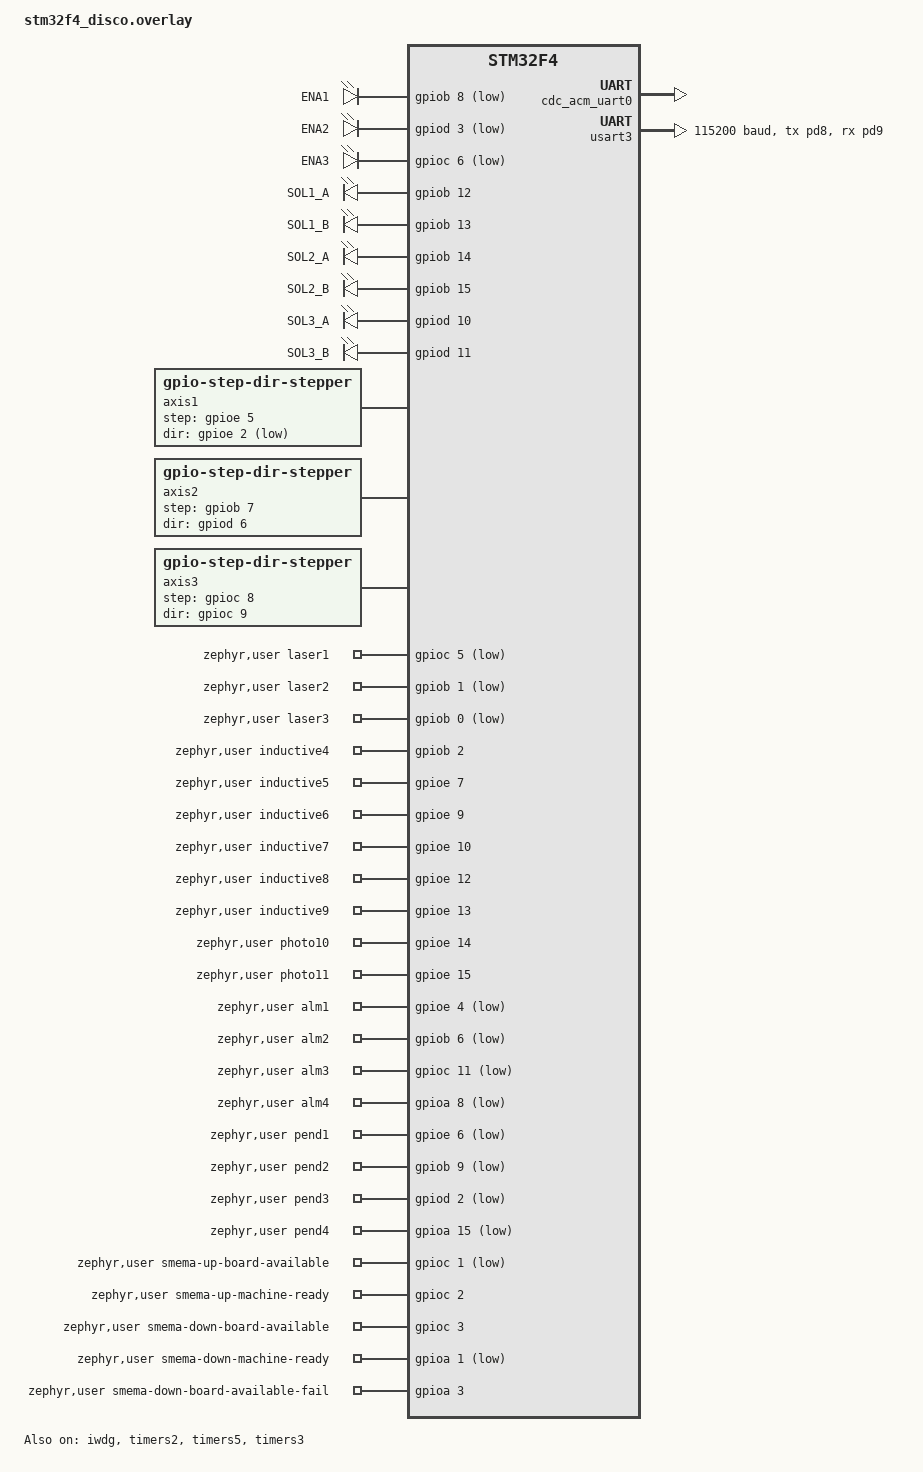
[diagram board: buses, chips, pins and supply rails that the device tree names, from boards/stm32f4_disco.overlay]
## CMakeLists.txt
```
# SPDX-License-Identifier: Apache-2.0
cmake_minimum_required(VERSION 3.20.0)
find_package(Zephyr REQUIRED HINTS $ENV{ZEPHYR_BASE})
project(stepper_f407_emul)

target_sources(app PRIVATE
	src/main.c
	src/io.c
	src/motion.c
	src/safety.c
	src/home.c
	src/smema.c
	src/solenoid.c
	src/evlog.c
	src/process.c
	src/roles.c
	src/mset.c
	src/cli.c
)
```

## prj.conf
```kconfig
# INFEED multi-axis stepper controller — STM32F407 Discovery / Shelly "Main".
# 3 step/dir banks (4 drives, bank 3 = synchronous pair) + polled sensors,
# drive feedback (ALM/PEND) and SMEMA handshake (reserved).

CONFIG_STEPPER=y
CONFIG_GPIO=y
CONFIG_COUNTER=y            # per-axis step timing via st,stm32-counter (TIM2/3/5)
# Deliver STEPS_COMPLETED from ISR so motion_go() gets its completion signal
# (our callback only gives a semaphore = ISR-safe). Without this the events are
# dropped and every fixed-distance move hits its timeout.
CONFIG_STEPPER_GPIO_STEPPER_GENERATE_ISR_SAFE_EVENTS=y
CONFIG_WATCHDOG=y           # IWDG — firmware-hang safety layer

# Interactive bring-up over the USART3 console
CONFIG_SHELL=y
CONFIG_STEPPER_SHELL=y

CONFIG_LOG=y
CONFIG_STEPPER_LOG_LEVEL_INF=y

# Fixed static malloc arena. The default -1 ("all remaining RAM") runs the heap
# to the top of the 128K SRAM (0x20020000); its end-marker write hits the
# unmapped boundary (DTCM is at 0x10000000, not contiguous) -> silent boot bus
# fault. (Diagnosed on the L476 emulator — same non-contiguous SRAM trap.)
CONFIG_COMMON_LIBC_MALLOC_ARENA_SIZE=8192

# Console/shell over USB-CDC-ACM on the OTG-FS port (no VCP on the F4-Disco).
# USB_DEVICE_INITIALIZE_AT_BOOT auto-enables the stack so the CDC ACM is the
# console/shell backend without a usb_enable() call in app code.
CONFIG_USB_DEVICE_STACK=y
CONFIG_USB_CDC_ACM=y
CONFIG_USB_DEVICE_INITIALIZE_AT_BOOT=y
CONFIG_USB_DEVICE_PRODUCT="INFEED F407 controller"

# Persistent sensor-role map + polarity + direction. STM32F4 flash above 128K is
# all 128K erase sectors; the NVS *settings* backend hard-caps sector size at 64K
# (UINT16), so NVS can't back settings here. ZMS handles large sectors (32-bit
# sizing) -> use it. Storage = storage_partition (top 3 sectors) in the overlay.
CONFIG_FLASH=y
CONFIG_FLASH_MAP=y
CONFIG_FLASH_PAGE_LAYOUT=y
CONFIG_MPU_ALLOW_FLASH_WRITE=y
CONFIG_ZMS=y
CONFIG_SETTINGS=y
CONFIG_SETTINGS_ZMS=y
```

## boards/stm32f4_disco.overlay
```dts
/*
 * INFEED multi-axis stepper controller — STM32F407 Discovery on the Shelly
 * "Main" test-fixture board.  Pin map: ~/moto/hw_docs/PIN_map_v5.csv (canonical).
 *
 * 3 step/dir/ena output banks drive 4 step-servo drives; banks 1 and 2 drive one
 * motor each, bank 3 drives the two SYNCHRONOUS motors in parallel (same pulse
 * train).  Each of the 4 drives reports back its own PEND+ (in-position) and
 * ALM+ (alarm).  11 process sensors (PNP) + the SMEMA conveyor handshake round
 * it out.  The 4 ALM + 11 sensors are INTERRUPT-driven (one distinct EXTI line
 * each); the 4 PEND + 2 SMEMA inputs are POLLED (their EXTI lines collide with
 * the 15).  All handled by the supervisor thread.
 *
 *   Bank   STEP(PLS-)   DIR-     ENA-     PEND+    ALM+
 *   1      PE5          PE2      PB8      PE6      PE4
 *   2      PB7          PD6      PD3      PB9      PB6
 *   3      PC8          PC9      PC6      PD2      PC11   (motor 3)
 *   3*     (shared)     -        -        PA15     PA8    (motor 4, same bank)
 *
 * MCU pin HIGH -> NPN sink ON -> drive opto (common-anode) energised = asserted.
 */

/* ---- Free the pins the board otherwise claims --------------------------- */
/* PB6=I2C1_SCL & PB9=I2C1_SDA -> ALM+2 / PEND+2 (also drops the CS43L22 codec) */
&i2c1   { status = "disabled"; };
/* PC10=I2S3_CK & PC12=I2S3_SD are vacated; audio stays off.                    */
&i2s3   { status = "disabled"; };
&plli2s { status = "disabled"; };
/* CAN1 (PD0/PD1) and CAN2 (PB5/PB13) unused.                                   */
&can1   { status = "disabled"; };
&can2   { status = "disabled"; };

/* ---- Clock: self-clocked from internal HSI (mini-USB = debug only) ------ */
/* HSI 16 MHz /16 *336 /2 = 168 MHz SYSCLK; HSE (ST-Link supplied) disabled.  */
&clk_hsi { status = "okay"; };
&pll {
	div-m  = <16>;
	mul-n  = <336>;
	div-p  = <2>;
	div-q  = <7>;
	clocks = <&clk_hsi>;
	status = "okay";
};
&clk_hse { status = "disabled"; };

/* Firmware-hang safety layer. */
&iwdg { status = "okay"; };

/* ---- Persistent settings (ZMS) ----------------------------------------- */
/* The sensor-role map + polarity + direction live in ZMS (NVS can't: its
 * settings backend caps sector size at 64K, and STM32F4's upper flash is all
 * 128K sectors). Use the TOP three 128K sectors (9-11) — well clear of the
 * ~110K image at the bottom. No code-partition is defined, so the app still
 * links to the whole flash; this region simply isn't written by the loader.   */
&flash0 {
	partitions {
		compatible = "fixed-partitions";
		#address-cells = <1>;
		#size-cells = <1>;
		storage_partition: partition@a0000 {
			label = "storage";
			reg = <0x000a0000 0x00060000>;   /* 384K: sectors 9-11 (3x128K) */
		};
	};
};

/* ---- Console / shell over USB-CDC-ACM (OTG-FS, micro-USB CN5) ----------- */
/* The F4-Disco ST-LINK has no usable VCP, so the console comes over the F407's
 * own USB-OTG port (PA11/PA12) as a CDC-ACM device -> host /dev/ttyACM*.
 * USART3 PD8/PD9 stays enabled as a wired fallback (external USB-TTL).        */
&zephyr_udc0 {
	cdc_acm_uart0: cdc_acm_uart0 {
		compatible = "zephyr,cdc-acm-uart";
	};
};
/ {
	chosen {
		zephyr,console    = &cdc_acm_uart0;
		zephyr,shell-uart = &cdc_acm_uart0;
	};
};
&usart2 { status = "disabled"; };
&usart3 {
	pinctrl-0 = <&usart3_tx_pd8 &usart3_rx_pd9>;
	pinctrl-names = "default";
	current-speed = <115200>;
	status = "okay";
};

/* ---- Step-timing counters (one per bank) -------------------------------- */
/* axis1=TIM2 and axis3=TIM5 are 32-bit (full step-rate range); axis2 (motor 2,
 * width — unused in the sequence) gets the 16-bit TIM3. 10 rpm = 3 ms/step
 * overflows a 16-bit counter, so the *used* table axis (3) must be 32-bit.
 * NB: the board uses TIM4 for the LED PWM, so TIM4 is intentionally avoided.   */
&timers2 {
	status = "okay";
	st,prescaler = <0>;
	axis1_counter: counter { compatible = "st,stm32-counter"; status = "okay"; };
};
&timers5 {
	status = "okay";
	st,prescaler = <0>;
	axis3_counter: counter { compatible = "st,stm32-counter"; status = "okay"; };
};
&timers3 {
	status = "okay";
	st,prescaler = <0>;
	axis2_counter: counter { compatible = "st,stm32-counter"; status = "okay"; };
};

/ {
	aliases {
		stepper = &axis1;
	};

	/*
	 * ENA-1/2/3 as plain GPIO outputs. All three GPIO_ACTIVE_LOW (uniform as of
	 * 2026-07-09): logical 1 = ENABLED = pin LOW; boot-idle (OUTPUT_INACTIVE) =
	 * pin HIGH = motors FREE, the safe default; safety_set_enable(true) pulls low
	 * to energize. Banks 1&2 (HBS57) bench-confirmed. Bank 3 (SS86D on J30)
	 * reverted from ACTIVE_HIGH to match - set the drive's ENA sense to suit:
	 * SS86D enables on ENA-LOW when P110 A-digit = 1 (P110 = 1000), P108 = 1.
	 * If a bank comes up inverted (holds at boot, frees on jog), flip that
	 * drive's polarity, not this flag.
	 */
	motor_enables {
		compatible = "gpio-leds";
		ena1: ena1 { gpios = <&gpiob 8 GPIO_ACTIVE_LOW>; label = "ENA1"; };
		ena2: ena2 { gpios = <&gpiod 3 GPIO_ACTIVE_LOW>; label = "ENA2"; };
		ena3: ena3 { gpios = <&gpioc 6 GPIO_ACTIVE_LOW>; label = "ENA3"; };
	};

	/*
	 * 3 double-solenoid pneumatic valves (SMC SY3220-5LOU, 5/2 bistable). Two
	 * coils per valve; PULSE one to shift, the valve HOLDS with both off. The
	 * solenoid module enforces "never both coils" + auto-release. Driver +
	 * flyback live on the fixture; MCU HIGH = energize (ACTIVE_HIGH, TBD).
	 */
	solenoids {
		compatible = "gpio-leds";
		sol1_a: sol1_a { gpios = <&gpiob 12 GPIO_ACTIVE_HIGH>; label = "SOL1_A"; };
		sol1_b: sol1_b { gpios = <&gpiob 13 GPIO_ACTIVE_HIGH>; label = "SOL1_B"; };
		sol2_a: sol2_a { gpios = <&gpiob 14 GPIO_ACTIVE_HIGH>; label = "SOL2_A"; };
		sol2_b: sol2_b { gpios = <&gpiob 15 GPIO_ACTIVE_HIGH>; label = "SOL2_B"; };
		sol3_a: sol3_a { gpios = <&gpiod 10 GPIO_ACTIVE_HIGH>; label = "SOL3_A"; };
		sol3_b: sol3_b { gpios = <&gpiod 11 GPIO_ACTIVE_HIGH>; label = "SOL3_B"; };
	};

	/* 3 step/dir banks. invert-direction is the per-axis travel-sense knob. */
	axis1: axis1 {
		compatible = "zephyr,gpio-step-dir-stepper";
		step-gpios = <&gpioe 5 GPIO_ACTIVE_HIGH>;   /* PLS-1 (TIM9_CH1 pin, driven as GPIO) */
		dir-gpios  = <&gpioe 2 GPIO_ACTIVE_LOW>;    /* DIR-1: inverted 2026-07-12 - conveyor (motor 1) ran backwards; flips all axis-1 moves. Keep `infeed dir 1` at norm. */
		counter    = <&axis1_counter>;
	};
	axis2: axis2 {
		compatible = "zephyr,gpio-step-dir-stepper";
		step-gpios = <&gpiob 7 GPIO_ACTIVE_HIGH>;   /* PLS-2 (TIM4_CH2 pin, driven as GPIO) */
		dir-gpios  = <&gpiod 6 GPIO_ACTIVE_HIGH>;   /* DIR-2 */
		counter    = <&axis2_counter>;
	};
	axis3: axis3 {
		compatible = "zephyr,gpio-step-dir-stepper";
		step-gpios = <&gpioc 8 GPIO_ACTIVE_HIGH>;   /* PLS-3 (TIM3_CH3 pin, driven as GPIO); drives motors 3+4 */
		dir-gpios  = <&gpioc 9 GPIO_ACTIVE_HIGH>;   /* DIR-3 */
		counter    = <&axis3_counter>;
	};

	/*
	 * Inputs resolved in firmware via GPIO_DT_SPEC_GET.
	 *
	 *  - Sensors (PNP, source-high when active) + ALM are INTERRUPT-driven:
	 *    each is on a distinct EXTI line (see PIN_map_v5.csv). ACTIVE_HIGH +
	 *    PULL_DOWN gives a defined idle level so a disconnected/idle line does
	 *    not generate spurious edges.
	 *  - PEND + the 2 SMEMA inputs are POLLED (their EXTI lines collide with the
	 *    15 above; STM32 EXTI serves one port per line).
	 *  - ALM/PEND polarity is drive-dependent and not yet bench-confirmed
	 *    (TODO: confirm opto type; flip ACTIVE_* / pull if open-collector).
	 *  - SMEMA is isolated and RESERVED (pins held, logic implemented later).
	 */
	zephyr,user {
		/* 11 process sensors (PNP) — 3 laser, 6 inductive, 2 photo-electric.
		 * Pins/EXTI lines unchanged; only the category split was relabelled. */
		/* Lasers are ACTIVE-LOW on the v0.2.0 board (idle high, pulled low when
		 * closed) — pull-up + active-low. NB the sensor logical sense is set in
		 * io.c (raw read + runtime polarity); the pull is what matters here. */
		laser1-gpios     = <&gpioc  5 (GPIO_ACTIVE_LOW | GPIO_PULL_UP)>;
		laser2-gpios     = <&gpiob  1 (GPIO_ACTIVE_LOW | GPIO_PULL_UP)>;
		laser3-gpios     = <&gpiob  0 (GPIO_ACTIVE_LOW | GPIO_PULL_UP)>;
		inductive4-gpios = <&gpiob  2 (GPIO_ACTIVE_HIGH | GPIO_PULL_DOWN)>; /* PB2=BOOT1: keep BOOT0 low at reset */
		inductive5-gpios = <&gpioe  7 (GPIO_ACTIVE_HIGH | GPIO_PULL_DOWN)>;
		inductive6-gpios = <&gpioe  9 (GPIO_ACTIVE_HIGH | GPIO_PULL_DOWN)>;
		inductive7-gpios = <&gpioe 10 (GPIO_ACTIVE_HIGH | GPIO_PULL_DOWN)>;
		inductive8-gpios = <&gpioe 12 (GPIO_ACTIVE_HIGH | GPIO_PULL_DOWN)>;
		inductive9-gpios = <&gpioe 13 (GPIO_ACTIVE_HIGH | GPIO_PULL_DOWN)>;
		photo10-gpios    = <&gpioe 14 (GPIO_ACTIVE_HIGH | GPIO_PULL_DOWN)>;
		photo11-gpios    = <&gpioe 15 (GPIO_ACTIVE_HIGH | GPIO_PULL_DOWN)>;

		/* Drive feedback (ALM+ / PEND+). These step-servo opto outputs are
		 * open-collector: idle = pulled high, asserted = pulled low -> use
		 * ACTIVE_LOW + PULL_UP. Also required for ALM2/PEND2 (PB6/PB9), which
		 * carry the F407-Disco codec's I2C pull-ups (would false-trigger as
		 * ACTIVE_HIGH). TBD: confirm against the real drives' opto polarity. */
		alm1-gpios = <&gpioe  4 (GPIO_ACTIVE_LOW | GPIO_PULL_UP)>;
		alm2-gpios = <&gpiob  6 (GPIO_ACTIVE_LOW | GPIO_PULL_UP)>;
		alm3-gpios = <&gpioc 11 (GPIO_ACTIVE_LOW | GPIO_PULL_UP)>;
		alm4-gpios = <&gpioa  8 (GPIO_ACTIVE_LOW | GPIO_PULL_UP)>;

		pend1-gpios = <&gpioe  6 (GPIO_ACTIVE_LOW | GPIO_PULL_UP)>;
		pend2-gpios = <&gpiob  9 (GPIO_ACTIVE_LOW | GPIO_PULL_UP)>;
		pend3-gpios = <&gpiod  2 (GPIO_ACTIVE_LOW | GPIO_PULL_UP)>;
		pend4-gpios = <&gpioa 15 (GPIO_ACTIVE_LOW | GPIO_PULL_UP)>;  /* PA15=JTDI, free under SWD */

		/* SMEMA conveyor handshake — directions per IPC-9851.
		 * PC1 / PA1 inputs = ACTIVE_LOW + internal PULL-UP (open-collector/opto:
		 * idle high = not asserted, pulled low = asserted). Board req 2026-07-02.
		 * NB: not bench-tested yet — needs the real up/down-stream machines. */
		smema-up-board-available-gpios   = <&gpioc 1 (GPIO_ACTIVE_LOW | GPIO_PULL_UP)>; /* I: upstream has a board */
		smema-up-machine-ready-gpios     = <&gpioc 2 GPIO_ACTIVE_HIGH>; /* O: we can accept */
		smema-down-board-available-gpios = <&gpioc 3 GPIO_ACTIVE_HIGH>; /* O: we have a board */
		smema-down-machine-ready-gpios   = <&gpioa 1 (GPIO_ACTIVE_LOW | GPIO_PULL_UP)>; /* I: downstream can accept */
		smema-down-board-available-fail-gpios = <&gpioa 3 GPIO_ACTIVE_HIGH>; /* O: FAILED board available to next machine */
	};
};
```

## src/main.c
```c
/*
 * INFEED multi-axis stepper controller — entry point.
 *
 * Thin by design: just bring the modules up in order and hand off to the
 * supervisor thread (started by safety_init). All behaviour lives in the
 * modules: io (pins/EXTI), motion (3 axes), home, smema, safety (supervisor).
 */

#include "io.h"
#include "roles.h"
#include "motion.h"
#include "home.h"
#include "smema.h"
#include "solenoid.h"
#include "safety.h"
#include "process.h"

#include <zephyr/kernel.h>
#include <zephyr/logging/log.h>
#include <zephyr/init.h>
#include <zephyr/sys/sys_io.h>
#include <zephyr/device.h>
#include <zephyr/shell/shell.h>
#include <zephyr/shell/shell_uart.h>

LOG_MODULE_REGISTER(main, LOG_LEVEL_INF);

/* Keep the SWD/debug interface alive during WFI sleep so Windows ST-Link /
 * CubeProgrammer can ALWAYS connect. On STM32F4 the debug link is dropped in
 * sleep by default -> a normal/hot-plug connect fails with "No device
 * connected" (only connect-under-reset works). Setting DBGMCU_CR
 * DBG_SLEEP|DBG_STOP|DBG_STANDBY keeps the debug clock running so the board
 * never blocks programming. */
#define DBGMCU_CR 0xE0042004u
static int keep_debug_alive(void)
{
	sys_write32(sys_read32(DBGMCU_CR) | 0x7u, DBGMCU_CR);
	return 0;
}
SYS_INIT(keep_debug_alive, PRE_KERNEL_1, 0);

/* Second interactive shell on USART3 (PD8/PD9), mirroring the USB-CDC console.
 * Both shells accept `infeed` commands independently; LOG + the evlog cycle
 * narration fan to BOTH (CONFIG_LOG_PRINTK routes printk through the log
 * backends, and this shell registers its own log backend). Replicates the
 * built-in shell_uart instantiation, bound to USART3 instead of the chosen. */
SHELL_UART_DEFINE(shell_transport_uart3);
SHELL_DEFINE(shell_uart3, "infeed:~$ ", &shell_transport_uart3,
	     CONFIG_SHELL_BACKEND_SERIAL_LOG_MESSAGE_QUEUE_SIZE,
	     CONFIG_SHELL_BACKEND_SERIAL_LOG_MESSAGE_QUEUE_TIMEOUT,
	     SHELL_FLAG_OLF_CRLF);

static int shell_uart3_init(void)
{
	const struct device *dev = DEVICE_DT_GET(DT_NODELABEL(usart3));
	static const struct shell_backend_config_flags cfg = SHELL_DEFAULT_BACKEND_CONFIG_FLAGS;

	if (!device_is_ready(dev)) {
		return -ENODEV;
	}
	/* log_backend = true -> LOG + evlog also render on PD8/PD9 */
	return shell_init(&shell_uart3, dev, cfg, true, CONFIG_LOG_MAX_LEVEL);
}
SYS_INIT(shell_uart3_init, POST_KERNEL, CONFIG_SHELL_BACKEND_SERIAL_INIT_PRIORITY);

int main(void)
{
	int err;

	LOG_INF("INFEED multi-axis controller starting");

	err = io_init();
	if (err) {
		LOG_ERR("io_init: %d", err);
	}
	err = roles_init();   /* sensor-role map + polarity (loads persisted config) */
	if (err) {
		LOG_ERR("roles_init: %d", err);
	}
	err = motion_init();
	if (err) {
		LOG_ERR("motion_init: %d", err);
	}
	err = home_init();
	if (err) {
		LOG_ERR("home_init: %d", err);
	}
	err = smema_init();
	if (err) {
		LOG_ERR("smema_init: %d", err);
	}
	err = solenoid_init();
	if (err) {
		LOG_ERR("solenoid_init: %d", err);
	}

	/* Supervisor thread (ALM/fault, LEDs, watchdog) — after all I/O is set. */
	err = safety_init();
	if (err) {
		LOG_ERR("safety_init: %d", err);
	}

	/* Last: the operation sequence (homing + per-panel cycle). */
	err = process_init();
	if (err) {
		LOG_ERR("process_init: %d", err);
	}

	LOG_INF("init complete");
	return 0;
}
```

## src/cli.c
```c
/*
 * cli - the `infeed` shell (bring-up / bench tool). Pure glue: reads io/safety
 * state and formats it. Raw per-axis motion stays on the stock `stepper` shell.
 */

#include "io.h"
#include "roles.h"
#include "motion.h"
#include "safety.h"
#include "solenoid.h"
#include "process.h"
#include "mset.h"

#include <errno.h>
#include <stdio.h>
#include <stdlib.h>
#include <string.h>
#include <zephyr/shell/shell.h>

static void mset_print(const struct shell *sh);

static int cmd_status(const struct shell *sh, size_t argc, char **argv)
{
	ARG_UNUSED(argc);
	ARG_UNUSED(argv);

	shell_print(sh, "fault : %s", safety_in_fault() ? "LATCHED" : "clear");
	shell_print(sh, "ena   : axis1=%s axis2=%s axis3=%s",
		    safety_enabled(0) ? "ON" : "free",
		    safety_enabled(1) ? "ON" : "free",
		    safety_enabled(2) ? "ON" : "free");
	shell_print(sh, "laser : 1=%d 2=%d 3=%d",
		    io_sensor(IO_LASER1), io_sensor(IO_LASER2), io_sensor(IO_LASER3));
	shell_print(sh, "induct: 4=%d 5=%d 6=%d 7=%d 8=%d 9=%d",
		    io_sensor(IO_INDUCTIVE4), io_sensor(IO_INDUCTIVE5), io_sensor(IO_INDUCTIVE6),
		    io_sensor(IO_INDUCTIVE7), io_sensor(IO_INDUCTIVE8), io_sensor(IO_INDUCTIVE9));
	shell_print(sh, "photo : 10=%d 11=%d",
		    io_sensor(IO_PHOTO10), io_sensor(IO_PHOTO11));
	shell_print(sh, "drive : ALM/PEND 1=%d/%d 2=%d/%d 3=%d/%d 4=%d/%d",
		    io_alm(IO_DRIVE1), io_pend(IO_DRIVE1),
		    io_alm(IO_DRIVE2), io_pend(IO_DRIVE2),
		    io_alm(IO_DRIVE3), io_pend(IO_DRIVE3),
		    io_alm(IO_DRIVE4), io_pend(IO_DRIVE4));
	shell_print(sh, "smema : up_board_avail=%d down_mach_ready=%d",
		    io_smema_upstream_board_available(),
		    io_smema_downstream_machine_ready());

	char line[128];
	size_t off = 0;
	int cnt = 0;

	for (int s = 0; s < IO_SENSOR_COUNT; s++) {
		if (io_sensor(s)) {
			off += snprintf(line + off, sizeof(line) - off, "%s%s",
					cnt ? " " : "", io_sensor_name(s));
			cnt++;
		}
	}
	shell_print(sh, "assert: %s  (check any unexpected at rest -> wrong NO/NC?)",
		    cnt ? line : "(none)");
	if (io_sim_any()) {
		shell_warn(sh, "SIM ACTIVE - inputs forced; `infeed sim off` for live pins");
	}
	mset_print(sh);
	return 0;
}

static int cmd_enable(const struct shell *sh, size_t argc, char **argv)
{
	ARG_UNUSED(argc);

	int axis = atoi(argv[1]);

	if (axis < 1 || axis > SAFETY_AXES) {
		shell_error(sh, "axis must be 1-%d", SAFETY_AXES);
		return -EINVAL;
	}

	bool on;

	if (strcmp(argv[2], "on") == 0) {
		on = true;
	} else if (strcmp(argv[2], "off") == 0) {
		on = false;
	} else {
		shell_error(sh, "expected on|off");
		return -EINVAL;
	}

	int err = safety_set_enable(axis - 1, on);

	if (err == -EBUSY) {
		shell_error(sh, "refused: fault latched (run `infeed reset` first)");
		return err;
	}
	if (err) {
		shell_error(sh, "enable failed: %d", err);
		return err;
	}
	shell_print(sh, "axis%d %s", axis, on ? "ENABLED" : "free");
	return 0;
}

static int cmd_sol(const struct shell *sh, size_t argc, char **argv)
{
	ARG_UNUSED(argc);

	int id = atoi(argv[1]);

	if (id < 1 || id > SOLENOID_COUNT) {
		shell_error(sh, "solenoid must be 1-%d", SOLENOID_COUNT);
		return -EINVAL;
	}

	enum solenoid_pos pos;

	if (strcmp(argv[2], "a") == 0) {
		pos = SOLENOID_A;
	} else if (strcmp(argv[2], "b") == 0) {
		pos = SOLENOID_B;
	} else {
		shell_error(sh, "expected a|b");
		return -EINVAL;
	}

	int err = solenoid_set(id - 1, pos);

	if (err) {
		shell_error(sh, "solenoid failed: %d", err);
		return err;
	}
	shell_print(sh, "sol%d -> coil %s held (level)", id, pos == SOLENOID_A ? "A" : "B");
	return 0;
}

static int cmd_stop(const struct shell *sh, size_t argc, char **argv)
{
	ARG_UNUSED(argc);
	ARG_UNUSED(argv);

	motion_stop_all();
	shell_print(sh, "all axes stopped");
	return 0;
}

static int cmd_reset(const struct shell *sh, size_t argc, char **argv)
{
	ARG_UNUSED(argc);
	ARG_UNUSED(argv);

	if (!safety_in_fault()) {
		shell_print(sh, "no fault latched");
		return 0;
	}
	safety_fault_reset();
	shell_print(sh, "fault cleared (motors free; re-enable explicitly)");
	return 0;
}

static int cmd_abort(const struct shell *sh, size_t argc, char **argv)
{
	ARG_UNUSED(argc);
	ARG_UNUSED(argv);

	if (safety_in_fault()) {
		shell_print(sh, "already aborted/faulted - run `infeed reset` to restart");
		return 0;
	}
	safety_raise_fault("operator abort (infeed abort)");
	shell_print(sh, "ABORTED - motion stopped, motors free, valves hold.");
	shell_print(sh, "run `infeed reset` to re-home and restart the cycle at idle");
	return 0;
}

/* Teach: bind a role to whichever sensor the installer actuates next. */
static int teach_role(const struct shell *sh, int r)
{
	bool base[IO_SENSOR_COUNT];

	for (int s = 0; s < IO_SENSOR_COUNT; s++) {
		base[s] = io_sensor(s);
	}
	shell_print(sh, "TEACH %s: actuate its sensor now (15 s)...", role_name(r));

	for (int t = 0; t < 1500; t++) {
		k_msleep(10);
		for (int s = 0; s < IO_SENSOR_COUNT; s++) {
			if (io_sensor(s) != base[s]) {
				role_assign(r, (enum io_sensor_id)s);
				shell_print(sh, "%s <- %s (%s)", role_name(r),
					    io_sensor_name(s), io_sensor_pin(s));
				shell_warn(sh, "RAM only - run `infeed cfg save` to persist");
				return 0;
			}
		}
	}
	shell_warn(sh, "timeout - no input changed; nothing bound");
	return 0;
}

static int cmd_map(const struct shell *sh, size_t argc, char **argv)
{
	if (argc == 1) {
		int use[IO_SENSOR_COUNT] = {0};

		shell_print(sh, "  %-18s %-12s %-5s asserted", "role", "sensor", "pin");
		for (int r = 0; r < ROLE_COUNT; r++) {
			enum io_sensor_id s = role_sensor(r);

			shell_print(sh, "  %-18s %-12s %-5s %d",
				    role_name(r), io_sensor_name(s),
				    io_sensor_pin(s), role_read(r));
			use[s]++;
		}
		for (int s = 0; s < IO_SENSOR_COUNT; s++) {
			if (use[s] > 1) {
				shell_warn(sh, "  ! %s bound to >1 role", io_sensor_name(s));
			}
		}
		for (int s = 0; s < IO_SENSOR_COUNT; s++) {
			if (use[s] == 0) {
				shell_print(sh, "  (unused: %s %s)",
					    io_sensor_name(s), io_sensor_pin(s));
			}
		}
		shell_print(sh, "set: infeed map <role> <sensor>  |  teach: infeed map teach <role>");
		return 0;
	}

	if (strcmp(argv[1], "teach") == 0) {
		if (argc != 3) {
			shell_error(sh, "usage: infeed map teach <role>");
			return -EINVAL;
		}
		int r = role_by_name(argv[2]);

		if (r < 0) {
			shell_error(sh, "unknown role '%s'", argv[2]);
			return -EINVAL;
		}
		return teach_role(sh, r);
	}

	if (argc != 3) {
		shell_error(sh, "usage: infeed map [<role> <sensor>] | teach <role>");
		return -EINVAL;
	}

	int r = role_by_name(argv[1]);
	int s = sensor_by_name(argv[2]);

	if (r < 0) {
		shell_error(sh, "unknown role '%s' (try `infeed map`)", argv[1]);
		return -EINVAL;
	}
	if (s < 0) {
		shell_error(sh, "unknown sensor '%s'", argv[2]);
		return -EINVAL;
	}
	role_assign(r, s);
	shell_print(sh, "%s <- %s (%s)", role_name(r),
		    io_sensor_name(s), io_sensor_pin(s));
	shell_warn(sh, "RAM only - run `infeed cfg save` to persist");
	return 0;
}

static int cmd_watch(const struct shell *sh, size_t argc, char **argv)
{
	uint32_t secs = (argc > 1) ? (uint32_t)atoi(argv[1]) : 20;
	bool prev[IO_SENSOR_COUNT];

	if (secs < 1) {
		secs = 1;
	}
	if (secs > 120) {
		secs = 120;
	}
	shell_print(sh, "watch %u s - '*' = asserted now (verify expected at rest):", secs);
	for (int s = 0; s < IO_SENSOR_COUNT; s++) {
		prev[s] = io_sensor(s);
		shell_print(sh, "  %-12s %-5s = %d %s", io_sensor_name(s),
			    io_sensor_pin(s), prev[s], prev[s] ? "*" : "");
	}
	for (uint32_t t = 0; t < secs * 10; t++) {
		k_msleep(100);
		for (int s = 0; s < IO_SENSOR_COUNT; s++) {
			bool v = io_sensor(s);

			if (v != prev[s]) {
				shell_print(sh, "  %-12s %-5s -> %d", io_sensor_name(s),
					    io_sensor_pin(s), v);
				prev[s] = v;
			}
		}
	}
	shell_print(sh, "watch done");
	return 0;
}

static int cmd_dir(const struct shell *sh, size_t argc, char **argv)
{
	if (argc == 1) {
		for (int a = 0; a < MOTION_AXIS_COUNT; a++) {
			shell_print(sh, "  bank%d : %s", a + 1,
				    motion_invert(a) ? "INVERTED" : "normal");
		}
		shell_print(sh, "set: infeed dir <1-3> <norm|inv>");
		return 0;
	}
	if (argc != 3) {
		shell_error(sh, "usage: infeed dir [<1-3> <norm|inv>]");
		return -EINVAL;
	}

	int b = atoi(argv[1]);

	if (b < 1 || b > MOTION_AXIS_COUNT) {
		shell_error(sh, "bank must be 1-%d", MOTION_AXIS_COUNT);
		return -EINVAL;
	}

	bool inv;

	if (strcmp(argv[2], "inv") == 0) {
		inv = true;
	} else if (strcmp(argv[2], "norm") == 0) {
		inv = false;
	} else {
		shell_error(sh, "expected norm|inv");
		return -EINVAL;
	}
	motion_set_invert(b - 1, inv);
	shell_print(sh, "bank%d = %s", b, inv ? "INVERTED" : "normal");
	shell_warn(sh, "RAM only - run `infeed cfg save` to persist");
	return 0;
}

static int cmd_start(const struct shell *sh, size_t argc, char **argv)
{
	ARG_UNUSED(argc);
	ARG_UNUSED(argv);

	/* `infeed start` (re)triggers a fresh run: stop any motion, re-home, and
	 * (re)start the per-panel cycle. Works any time, no reboot. */
	process_start();
	shell_print(sh, "start: re-homing and (re)starting the cycle");
	return 0;
}

/* Report a manual portion-of-cycle command result. */
static int manual_report(const struct shell *sh, int err, const char *ok)
{
	switch (err) {
	case 0:
		shell_print(sh, "%s (manual mode - run `infeed start` to resume the auto-cycle)", ok);
		return 0;
	case -EBUSY:
		shell_error(sh, "fault latched - run `infeed reset` first");
		return err;
	case -EAGAIN:
		shell_error(sh, "auto cycle running - `infeed abort` then retry");
		return err;
	default:
		shell_error(sh, "interrupted (fault or `infeed start`)");
		return err;
	}
}

static int cmd_table_home(const struct shell *sh, size_t argc, char **argv)
{
	ARG_UNUSED(argc);
	ARG_UNUSED(argv);
	return manual_report(sh, process_table_home(), "table homed");
}

static int cmd_table_down(const struct shell *sh, size_t argc, char **argv)
{
	ARG_UNUSED(argc);
	ARG_UNUSED(argv);
	return manual_report(sh, process_table_down(), "table down to test position");
}

static int cmd_load(const struct shell *sh, size_t argc, char **argv)
{
	ARG_UNUSED(argc);
	ARG_UNUSED(argv);
	return manual_report(sh, process_load(), "loaded: panel conveyed to position");
}

static int cmd_unload(const struct shell *sh, size_t argc, char **argv)
{
	ARG_UNUSED(argc);
	ARG_UNUSED(argv);
	return manual_report(sh, process_unload(), "unloaded: panel conveyed out past Laser 3");
}

static int cmd_test(const struct shell *sh, size_t argc, char **argv)
{
	if (argc == 1) {
		shell_print(sh, "test mode %s - cylinder confirms %s",
			    process_test_mode() ? "ON" : "off",
			    process_test_mode() ? "wait forever" : "alarm after 10 s");
		return 0;
	}
	if (strcmp(argv[1], "on") == 0) {
		process_set_test_mode(true);
		shell_print(sh, "test mode ON - cylinder confirms wait indefinitely (hand-stepping)");
		return 0;
	}
	if (strcmp(argv[1], "off") == 0) {
		process_set_test_mode(false);
		shell_print(sh, "test mode off - cylinder alarm after 10 s (production)");
		return 0;
	}
	shell_error(sh, "expected on|off");
	return -EINVAL;
}

/* Logic test: force an input on/off so the cycle can be walked without sensors. */
static int cmd_sim(const struct shell *sh, size_t argc, char **argv)
{
	if (argc == 1) {
		shell_print(sh, "simulation %s.  usage: infeed sim <name> <0|1> | off",
			    io_sim_any() ? "ACTIVE" : "off");
		shell_print(sh, "names: laser1..3  inductive4..9  photo10 photo11  smema_up  smema_down");
		return 0;
	}
	if (strcmp(argv[1], "off") == 0) {
		io_sim_off();
		shell_print(sh, "simulation off - live inputs");
		return 0;
	}
	if (argc != 3) {
		shell_error(sh, "usage: infeed sim <name> <0|1> | off");
		return -EINVAL;
	}

	bool on = (argv[2][0] == '1');
	int s = sensor_by_name(argv[1]);

	if (s >= 0) {
		io_sim_sensor((enum io_sensor_id)s, on);
	} else if (strcmp(argv[1], "smema_up") == 0) {
		io_sim_smema_up_board_available(on);
	} else if (strcmp(argv[1], "smema_down") == 0) {
		io_sim_smema_down_machine_ready(on);
	} else {
		shell_error(sh, "unknown input '%s' (try `infeed sim`)", argv[1]);
		return -EINVAL;
	}
	shell_print(sh, "sim %s = %d", argv[1], on);
	return 0;
}

/* Manual jog: `infeed jog <1-3> <+|-> [rev=1] [rpm=20]` (bench). */
static int cmd_jog(const struct shell *sh, size_t argc, char **argv)
{
	int b = atoi(argv[1]);

	if (b < 1 || b > MOTION_AXIS_COUNT) {
		shell_error(sh, "bank must be 1-%d", MOTION_AXIS_COUNT);
		return -EINVAL;
	}

	enum motion_dir dir;

	if (strcmp(argv[2], "+") == 0) {
		dir = MOTION_POS;
	} else if (strcmp(argv[2], "-") == 0) {
		dir = MOTION_NEG;
	} else {
		shell_error(sh, "direction must be + or -");
		return -EINVAL;
	}

	double rev = (argc > 3) ? strtod(argv[3], NULL) : 1.0;
	uint32_t rpm = (argc > 4) ? (uint32_t)atoi(argv[4]) : 20;

	if (!(rev > 0.0) || rev > 50.0) {
		shell_error(sh, "rev must be > 0 and <= 50");
		return -EINVAL;
	}
	if (rpm < 1 || rpm > 300) {
		shell_error(sh, "rpm must be 1-300");
		return -EINVAL;
	}
	if (safety_in_fault()) {
		shell_error(sh, "fault latched - run `infeed reset` first");
		return -EBUSY;
	}
	if (motion_is_moving(b - 1)) {
		shell_error(sh, "bank%d is moving - `infeed stop` first", b);
		return -EBUSY;
	}

	uint32_t steps = (uint32_t)(rev * (double)MOTION_STEPS_PER_REV + 0.5);

	(void)safety_set_enable(b - 1, true);   /* a jog needs holding torque */

	int err = motion_go_steps(b - 1, dir, steps, rpm);

	if (err) {
		shell_error(sh, "jog failed: %d", err);
		return err;
	}
	shell_print(sh, "bank%d jog %s%s rev @ %u rpm (%u steps), bank enabled",
		    b, argv[2], (argc > 3) ? argv[3] : "1", rpm, steps);
	return 0;
}

static int cmd_pol(const struct shell *sh, size_t argc, char **argv)
{
	if (argc == 1) {
		for (int s = 0; s < IO_SENSOR_COUNT; s++) {
			shell_print(sh, "  %-12s %-5s %s",
				    io_sensor_name(s), io_sensor_pin(s),
				    io_active_high(s) ? "active-HIGH (NO)"
						      : "active-LOW (NC)");
		}
		shell_print(sh, "set: infeed pol <sensor> <high|low>");
		return 0;
	}
	if (argc != 3) {
		shell_error(sh, "usage: infeed pol [<sensor> <high|low>]");
		return -EINVAL;
	}

	int s = sensor_by_name(argv[1]);

	if (s < 0) {
		shell_error(sh, "unknown sensor '%s'", argv[1]);
		return -EINVAL;
	}

	bool ah;

	if (strcmp(argv[2], "high") == 0) {
		ah = true;
	} else if (strcmp(argv[2], "low") == 0) {
		ah = false;
	} else {
		shell_error(sh, "expected high|low");
		return -EINVAL;
	}
	io_set_active_high(s, ah);
	io_refresh();
	shell_print(sh, "%s = active-%s", io_sensor_name(s), ah ? "HIGH" : "LOW");
	shell_warn(sh, "RAM only - run `infeed cfg save` to persist");
	return 0;
}

/* Accept both '.' and ',' as the decimal separator (operator convenience). */
static double parse_decimal(const char *s)
{
	char buf[24];
	size_t i = 0;

	for (; s[i] && i < sizeof(buf) - 1; i++) {
		buf[i] = (s[i] == ',') ? '.' : s[i];
	}
	buf[i] = '\0';
	return strtod(buf, NULL);
}

static void mset_print(const struct shell *sh)
{
	shell_print(sh, "motor setup (infeed set <1-7> <rpm> [rev]):");
	for (int id = 1; id <= MSET_COUNT; id++) {
		if (mset_has_rounds((enum mset_id)id)) {
			uint32_t mrev = mset_steps((enum mset_id)id) * 1000U / MOTION_STEPS_PER_REV;

			shell_print(sh, "  set %d: %u rpm, %u.%03u rev   [%s]", id,
				    mset_rpm((enum mset_id)id), mrev / 1000U, mrev % 1000U,
				    mset_name((enum mset_id)id));
		} else {
			shell_print(sh, "  set %d: %u rpm             [%s]", id,
				    mset_rpm((enum mset_id)id), mset_name((enum mset_id)id));
		}
	}
}

static int cmd_set(const struct shell *sh, size_t argc, char **argv)
{
	if (argc == 1) {
		mset_print(sh);
		return 0;
	}

	int id = atoi(argv[1]);

	if (id < 1 || id > MSET_COUNT) {
		shell_error(sh, "id must be 1-%d (see `infeed set`)", MSET_COUNT);
		return -EINVAL;
	}
	if (argc < 3) {
		shell_error(sh, "usage: infeed set %d <rpm>%s", id,
			    mset_has_rounds((enum mset_id)id) ? " <rev>" : "");
		return -EINVAL;
	}

	int rpm = atoi(argv[2]);

	if (rpm <= 0) {
		shell_error(sh, "rpm must be > 0");
		return -EINVAL;
	}

	uint32_t steps = 0;

	if (mset_has_rounds((enum mset_id)id)) {
		if (argc < 4) {
			shell_error(sh, "set %d needs: <rpm> <rev>", id);
			return -EINVAL;
		}
		double rev = parse_decimal(argv[3]);

		if (!(rev > 0.0)) {
			shell_error(sh, "rev must be > 0 (use '.' or ',')");
			return -EINVAL;
		}
		steps = (uint32_t)(rev * (double)MOTION_STEPS_PER_REV + 0.5);
	}

	(void)mset_set((enum mset_id)id, (uint32_t)rpm, steps);

	if (mset_has_rounds((enum mset_id)id)) {
		uint32_t mrev = steps * 1000U / MOTION_STEPS_PER_REV;

		shell_print(sh, "set %d = %d rpm, %u.%03u rev  [%s]  (run `infeed cfg save`)",
			    id, rpm, mrev / 1000U, mrev % 1000U, mset_name((enum mset_id)id));
	} else {
		shell_print(sh, "set %d = %d rpm  [%s]  (run `infeed cfg save`)",
			    id, rpm, mset_name((enum mset_id)id));
	}
	return 0;
}

static int cmd_cfg(const struct shell *sh, size_t argc, char **argv)
{
	if (strcmp(argv[1], "save") == 0) {
		int rc = roles_save();

		if (rc == 0) {
			rc = mset_save();
		}
		if (rc) {
			shell_error(sh, "save failed: %d", rc);
			return rc;
		}
		shell_print(sh, "saved to flash (roles + motor setup)");
		return 0;
	}
	if (strcmp(argv[1], "reset") == 0) {
		int rc = roles_reset();

		if (rc) {
			shell_error(sh, "reset failed: %d", rc);
			return rc;
		}
		shell_print(sh, "defaults restored + saved");
		return 0;
	}
	if (strcmp(argv[1], "dump") == 0) {
		char tok[48];
		int rc = roles_dump(tok, sizeof(tok));

		if (rc) {
			shell_error(sh, "dump failed: %d", rc);
			return rc;
		}
		shell_print(sh, "%s", tok);
		return 0;
	}
	if (strcmp(argv[1], "load") == 0) {
		if (argc != 3) {
			shell_error(sh, "usage: infeed cfg load <token>");
			return -EINVAL;
		}
		int rc = roles_apply_token(argv[2]);

		if (rc) {
			shell_error(sh, "bad token: %d", rc);
			return rc;
		}
		shell_print(sh, "loaded");
		shell_warn(sh, "RAM only - run `infeed cfg save` to persist");
		return 0;
	}
	shell_error(sh, "expected save|reset|dump|load");
	return -EINVAL;
}

/* `infeed table home|down` (manual commissioning). */
SHELL_STATIC_SUBCMD_SET_CREATE(table_cmds,
	SHELL_CMD(home, NULL, "home the table up to Photo 10 (#1)", cmd_table_home),
	SHELL_CMD(down, NULL, "table down to test position, 6 rev (#10)", cmd_table_down),
	SHELL_SUBCMD_SET_END
);

SHELL_STATIC_SUBCMD_SET_CREATE(infeed_cmds,
	SHELL_CMD(status, NULL,
		  "Dump sensors / ALM / PEND / SMEMA / fault / enable state",
		  cmd_status),
	SHELL_CMD_ARG(enable, NULL, "<1-3> <on|off>  enable or free a bank",
		      cmd_enable, 3, 0),
	SHELL_CMD_ARG(sol, NULL, "<1-3> <a|b>  pulse a valve solenoid",
		      cmd_sol, 3, 0),
	SHELL_CMD(stop, NULL, "Stop all axes", cmd_stop),
	SHELL_CMD(abort, NULL, "Software E-stop: abort the cycle (reset to restart)", cmd_abort),
	SHELL_CMD(reset, NULL, "Clear a latched fault / abort (re-homes, restarts)", cmd_reset),
	SHELL_CMD(start, NULL, "Release the unconfigured safe-hold / begin", cmd_start),
	SHELL_CMD(table, &table_cmds, "table home|down  (manual commissioning)", NULL),
	SHELL_CMD(load, NULL, "manual: panel in (Laser1) -> convey -> creep (#4-#9)", cmd_load),
	SHELL_CMD(unload, NULL, "manual: convey out to position (Laser3) -> stop (#25-#27)", cmd_unload),
	SHELL_CMD_ARG(test, NULL, "[on|off]  commissioning mode: cylinder confirms wait (no alarm)",
		      cmd_test, 1, 1),
	SHELL_CMD_ARG(map, NULL,
		      "[<role> <sensor>] | teach <role>  show/set/teach the sensor-role map",
		      cmd_map, 1, 2),
	SHELL_CMD_ARG(watch, NULL, "[secs]  live-watch the sensor inputs", cmd_watch, 1, 1),
	SHELL_CMD_ARG(pol, NULL, "[<sensor> <high|low>]  show/set sensor active level",
		      cmd_pol, 1, 2),
	SHELL_CMD_ARG(dir, NULL, "[<1-3> <norm|inv>]  show/set per-bank direction",
		      cmd_dir, 1, 2),
	SHELL_CMD_ARG(jog, NULL, "<1-3> <+|-> [rev=1] [rpm=20]  manually jog a bank",
		      cmd_jog, 3, 2),
	SHELL_CMD_ARG(sim, NULL, "<name> <0|1> | off  force an input (logic test)",
		      cmd_sim, 1, 2),
	SHELL_CMD_ARG(set, NULL, "[<1-7> <rpm> [rev]]  motor speeds/rounds (no args = show)",
		      cmd_set, 1, 3),
	SHELL_CMD_ARG(cfg, NULL, "<save|reset|dump|load <token>>  persistence",
		      cmd_cfg, 2, 1),
	SHELL_SUBCMD_SET_END
);
SHELL_CMD_REGISTER(infeed, &infeed_cmds, "INFEED controller commands", NULL);
```

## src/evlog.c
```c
#include "evlog.h"

#include <stdarg.h>
#include <stdio.h>
#include <zephyr/kernel.h>

/*
 * Per-step timestamps are still computed (the cycle clock keeps running) but are
 * MASKED in the printed output for now. Set EVLOG_SHOW_TIME to 1 to bring back
 * the leading [SSSS.S] cycle-relative stamp on every line + the cycle total.
 */
#define EVLOG_SHOW_TIME 0

static int64_t cycle_start;

#if EVLOG_SHOW_TIME
static void stamp(char *buf, size_t n)
{
	uint32_t ms = (uint32_t)(k_uptime_get() - cycle_start);

	(void)snprintf(buf, n, "%4u.%u", ms / 1000U, (ms % 1000U) / 100U);
}
#endif

void evlog_cycle_start(unsigned cycle)
{
	cycle_start = k_uptime_get();   /* reset the clock even while masked */
	printk("==== Cycle %u ====\n", cycle);
}

void evlog_cycle_end(unsigned cycle)
{
#if EVLOG_SHOW_TIME
	char t[12];

	stamp(t, sizeof(t));
	printk("==== Cycle %u done: %s s ====\n", cycle, t);
#else
	printk("==== Cycle %u done ====\n", cycle);
#endif
}

void evlog(int step, char dir, const char *fmt, ...)
{
	char msg[160];
	va_list ap;

	va_start(ap, fmt);
	(void)vsnprintf(msg, sizeof(msg), fmt, ap);
	va_end(ap);

#if EVLOG_SHOW_TIME
	char t[12];

	stamp(t, sizeof(t));
	printk("[%s] #%-2d %c %s\n", t, step, dir, msg);
#else
	printk("#%-2d %c %s\n", step, dir, msg);
#endif
}
```

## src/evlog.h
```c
/*
 * evlog — cycle event log on the console. Timestamps are SSSS.S (tenths of a
 * second) relative to the last evlog_cycle_start() (called at step 2, when the
 * 32F asserts SMEMA up-Ready). Owns the cycle clock + the line format.
 */
#ifndef INFEED_EVLOG_H_
#define INFEED_EVLOG_H_

void evlog_cycle_start(unsigned cycle);   /* reset the clock + print header */
void evlog_cycle_end(unsigned cycle);     /* print footer with total time */

/* dir: '>' = 32F output/command, '<' = input received, '.' = note. */
void evlog(int step, char dir, const char *fmt, ...);

#endif /* INFEED_EVLOG_H_ */
```

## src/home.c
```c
#include "home.h"

#include <zephyr/logging/log.h>

LOG_MODULE_REGISTER(home, LOG_LEVEL_INF);

int home_init(void)
{
	/* TODO: per-axis homing against the limit/home sensors via io. */
	LOG_INF("home stub");
	return 0;
}
```

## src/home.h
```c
/* home — sensor-based homing per axis (stub). */
#ifndef INFEED_HOME_H_
#define INFEED_HOME_H_

int home_init(void);

#endif /* INFEED_HOME_H_ */
```

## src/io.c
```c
#include "io.h"

#include <zephyr/device.h>
#include <zephyr/drivers/gpio.h>
#include <zephyr/logging/log.h>

LOG_MODULE_REGISTER(io, LOG_LEVEL_INF);

#define ZU      DT_PATH(zephyr_user)
#define SPEC(p) GPIO_DT_SPEC_GET(ZU, p)

/*
 * Single flat input table. Order matters: sensors + ALM (the interrupt set)
 * come first and contiguous, so indices [0, N_IRQ) are exactly the EXTI inputs.
 */
#define N_SENSOR       IO_SENSOR_COUNT                 /* 11 */
#define N_DRIVE        IO_DRIVE_COUNT                  /* 4  */
#define I_SENSOR(s)    (s)                             /* 0..10  */
#define I_ALM(d)       (N_SENSOR + (d))                /* 11..14 */
#define I_PEND(d)      (N_SENSOR + N_DRIVE + (d))      /* 15..18 */
#define I_SMEMA_UP_BA  (N_SENSOR + 2 * N_DRIVE)        /* 19 */
#define I_SMEMA_DN_MR  (N_SENSOR + 2 * N_DRIVE + 1)    /* 20 */
#define N_INPUTS       (N_SENSOR + 2 * N_DRIVE + 2)    /* 21 */
#define N_IRQ          (N_SENSOR + N_DRIVE)            /* 15 (sensors + ALM) */

BUILD_ASSERT(N_INPUTS <= 32, "level bitmask is 32-bit");

#define DEBOUNCE_MS 2

static const struct gpio_dt_spec inputs[N_INPUTS] = {
	/* sensors 0..10 (interrupt): 3 laser, 6 inductive, 2 photo (cont. numbering) */
	SPEC(laser1_gpios),     SPEC(laser2_gpios),     SPEC(laser3_gpios),
	SPEC(inductive4_gpios), SPEC(inductive5_gpios), SPEC(inductive6_gpios),
	SPEC(inductive7_gpios), SPEC(inductive8_gpios), SPEC(inductive9_gpios),
	SPEC(photo10_gpios),    SPEC(photo11_gpios),
	/* ALM 11..14 (interrupt) */
	SPEC(alm1_gpios), SPEC(alm2_gpios), SPEC(alm3_gpios), SPEC(alm4_gpios),
	/* PEND 15..18 (polled) */
	SPEC(pend1_gpios), SPEC(pend2_gpios), SPEC(pend3_gpios), SPEC(pend4_gpios),
	/* SMEMA inputs 19..20 (polled) */
	SPEC(smema_up_board_available_gpios),
	SPEC(smema_down_machine_ready_gpios),
};

static const char *const names[N_INPUTS] = {
	"laser1", "laser2", "laser3",
	"inductive4", "inductive5", "inductive6",
	"inductive7", "inductive8", "inductive9",
	"photo10", "photo11",
	"alm1", "alm2", "alm3", "alm4",
	"pend1", "pend2", "pend3", "pend4",
	"smema_up_board_avail", "smema_down_mach_ready",
};

/* Pin-name strings for the 11 sensors (fixed by hardware; only the role binding
 * is reconfigurable). For human-readable CLI / event log. */
static const char *const sensor_pins[N_SENSOR] = {
	"PC5", "PB1", "PB0",                          /* laser1-3      */
	"PB2", "PE7", "PE9", "PE10", "PE12", "PE13",  /* inductive4-9  */
	"PE14", "PE15",                               /* photo10-11    */
};

/* Per-sensor active level (runtime/persisted). true = asserted-HIGH (NO). */
static bool sensor_active_high[N_SENSOR];

static const struct gpio_dt_spec smema_out[] = {
	SPEC(smema_up_machine_ready_gpios),
	SPEC(smema_down_board_available_gpios),
	SPEC(smema_down_board_available_fail_gpios),
};

static K_SEM_DEFINE(event_sem, 0, 1);

static uint32_t level;               /* debounced state, bit i = inputs[i] */
static uint32_t forced_mask;         /* bit i = inputs[i] is simulated (skip pin) */
static int64_t  last_edge[N_IRQ];    /* debounce timestamps (interrupt set) */

/* One callback per port that owns interrupt pins (the 15 span ports A/B/C/E). */
#define MAX_PORTS 6
static struct gpio_callback port_cb[MAX_PORTS];
static const struct device *cb_port[MAX_PORTS];
static int n_ports;

static void input_isr(const struct device *port, struct gpio_callback *cb,
		      gpio_port_pins_t pins)
{
	ARG_UNUSED(port);
	ARG_UNUSED(cb);
	ARG_UNUSED(pins);
	k_sem_give(&event_sem);
}

static int port_slot(const struct device *port)
{
	for (int i = 0; i < n_ports; i++) {
		if (cb_port[i] == port) {
			return i;
		}
	}
	if (n_ports >= MAX_PORTS) {
		return -1;
	}
	cb_port[n_ports] = port;
	return n_ports++;
}

/* Asserted (logical) level of input i. Sensors apply the runtime active-level
 * to the raw pin; ALM/PEND/SMEMA use their fixed devicetree polarity. */
static int read_asserted(int i)
{
	if (i < N_SENSOR) {
		int raw = gpio_pin_get_raw(inputs[i].port, inputs[i].pin);

		if (raw < 0) {
			return raw;
		}
		return sensor_active_high[i] ? !!raw : !raw;
	}
	return gpio_pin_get_dt(&inputs[i]);
}

int io_init(void)
{
	gpio_port_pins_t mask[MAX_PORTS] = {0};
	int err;

	for (int s = 0; s < N_SENSOR; s++) {
		sensor_active_high[s] = true;   /* most sensors default ACTIVE_HIGH */
	}
	/* Lasers are ACTIVE-LOW on the v0.2.0 board (asserted = pin pulled low). */
	sensor_active_high[IO_LASER1] = false;
	sensor_active_high[IO_LASER2] = false;
	sensor_active_high[IO_LASER3] = false;

	for (int i = 0; i < N_INPUTS; i++) {
		if (!gpio_is_ready_dt(&inputs[i])) {
			LOG_ERR("%s: port not ready", names[i]);
			return -ENODEV;
		}
		err = gpio_pin_configure_dt(&inputs[i], GPIO_INPUT);
		if (err) {
			LOG_ERR("%s: configure %d", names[i], err);
			return err;
		}
	}

	for (int i = 0; i < (int)ARRAY_SIZE(smema_out); i++) {
		if (!gpio_is_ready_dt(&smema_out[i])) {
			return -ENODEV;
		}
		(void)gpio_pin_configure_dt(&smema_out[i], GPIO_OUTPUT_INACTIVE);
	}

	/* Build per-port masks over the interrupt set, then register one callback
	 * per port (init needs the full mask before add). */
	for (int i = 0; i < N_IRQ; i++) {
		int slot = port_slot(inputs[i].port);

		if (slot < 0) {
			LOG_ERR("too many interrupt ports");
			return -ENOMEM;
		}
		mask[slot] |= BIT(inputs[i].pin);
	}
	for (int i = 0; i < n_ports; i++) {
		gpio_init_callback(&port_cb[i], input_isr, mask[i]);
		err = gpio_add_callback(cb_port[i], &port_cb[i]);
		if (err) {
			LOG_ERR("add_callback: %d", err);
			return err;
		}
	}

	/* Prime current state (so the first refresh only logs real changes). */
	for (int i = 0; i < N_INPUTS; i++) {
		if (read_asserted(i) > 0) {
			level |= BIT(i);
		}
	}

	/* Enable edge interrupts on the 15. Distinct EXTI lines were engineered
	 * into the pin map, so no -EBUSY collisions. */
	for (int i = 0; i < N_IRQ; i++) {
		err = gpio_pin_interrupt_configure_dt(&inputs[i], GPIO_INT_EDGE_BOTH);
		if (err) {
			LOG_ERR("%s: irq enable %d", names[i], err);
			return err;
		}
	}

	LOG_INF("io ready: %d inputs (%d irq on %d ports, %d polled)",
		N_INPUTS, N_IRQ, n_ports, N_INPUTS - N_IRQ);
	return 0;
}

int io_wait_event(k_timeout_t timeout)
{
	return k_sem_take(&event_sem, timeout);
}

void io_refresh(void)
{
	int64_t now = k_uptime_get();

	for (int i = 0; i < N_INPUTS; i++) {
		if (forced_mask & BIT(i)) {
			continue;          /* simulated input: don't overwrite */
		}

		int v = read_asserted(i);

		if (v < 0) {
			continue;
		}
		if ((bool)(level & BIT(i)) == (bool)v) {
			continue;
		}
		if (i < N_IRQ) {
			if (now - last_edge[i] < DEBOUNCE_MS) {
				continue; /* debounce re-fire (interrupt set only) */
			}
			last_edge[i] = now;
		}
		WRITE_BIT(level, i, v);
		LOG_INF("%s -> %d", names[i], v);
	}
}

bool io_sensor(enum io_sensor_id s) { return level & BIT(I_SENSOR(s)); }
bool io_alm(enum io_drive_id d)     { return level & BIT(I_ALM(d)); }
bool io_pend(enum io_drive_id d)    { return level & BIT(I_PEND(d)); }

bool io_smema_upstream_board_available(void) { return level & BIT(I_SMEMA_UP_BA); }
bool io_smema_downstream_machine_ready(void) { return level & BIT(I_SMEMA_DN_MR); }

void io_smema_set_upstream_machine_ready(bool on)
{
	(void)gpio_pin_set_dt(&smema_out[0], on);
}
void io_smema_set_downstream_board_available(bool on)
{
	(void)gpio_pin_set_dt(&smema_out[1], on);
}

void io_smema_set_downstream_board_available_fail(bool on)
{
	(void)gpio_pin_set_dt(&smema_out[2], on);
}

void io_set_active_high(enum io_sensor_id s, bool active_high)
{
	if ((int)s < N_SENSOR) {
		sensor_active_high[s] = active_high;
	}
}

bool io_active_high(enum io_sensor_id s)
{
	return ((int)s < N_SENSOR) ? sensor_active_high[s] : true;
}

const char *io_sensor_name(enum io_sensor_id s)
{
	return ((int)s < N_SENSOR) ? names[s] : "?";
}

const char *io_sensor_pin(enum io_sensor_id s)
{
	return ((int)s < N_SENSOR) ? sensor_pins[s] : "?";
}

static void sim_set(int i, bool on)
{
	forced_mask |= BIT(i);
	WRITE_BIT(level, i, on);
	LOG_INF("SIM %s = %d", names[i], on ? 1 : 0);
}

void io_sim_sensor(enum io_sensor_id s, bool on)
{
	if ((int)s < N_SENSOR) {
		sim_set(I_SENSOR(s), on);
	}
}

void io_sim_smema_up_board_available(bool on)   { sim_set(I_SMEMA_UP_BA, on); }
void io_sim_smema_down_machine_ready(bool on)   { sim_set(I_SMEMA_DN_MR, on); }

void io_sim_off(void)
{
	forced_mask = 0;       /* next refresh re-reads the live pins */
	LOG_INF("SIM off (live inputs)");
}

bool io_sim_any(void) { return forced_mask != 0; }
```

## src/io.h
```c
/*
 * io — the pin layer. Owns every fixture GPIO: the 15 interrupt inputs
 * (4 ALM + 11 sensors), the polled inputs (4 PEND + 2 SMEMA), and the SMEMA
 * outputs. The ISR only wakes the supervisor (semaphore); io_refresh() does the
 * debounced sampling. Passive: knows pins, holds no policy.
 */
#ifndef INFEED_IO_H_
#define INFEED_IO_H_

#include <stdbool.h>
#include <zephyr/kernel.h>

enum io_sensor_id {
	IO_LASER1, IO_LASER2, IO_LASER3,
	IO_INDUCTIVE4, IO_INDUCTIVE5, IO_INDUCTIVE6,
	IO_INDUCTIVE7, IO_INDUCTIVE8, IO_INDUCTIVE9,
	IO_PHOTO10, IO_PHOTO11,
	IO_SENSOR_COUNT
};

enum io_drive_id { IO_DRIVE1, IO_DRIVE2, IO_DRIVE3, IO_DRIVE4, IO_DRIVE_COUNT };

/* Configure all pins, register the per-port interrupt callbacks, enable EXTI. */
int io_init(void);

/* Block until an interrupt edge (ALM/sensor) or timeout. 0 = event, <0 = timeout. */
int io_wait_event(k_timeout_t timeout);

/* Re-sample + debounce every input, log transitions. Call from the supervisor. */
void io_refresh(void);

/* Debounced logical state (true = asserted). */
bool io_sensor(enum io_sensor_id s);
bool io_alm(enum io_drive_id d);
bool io_pend(enum io_drive_id d);

/* Per-sensor active level (runtime-configurable, persisted by the roles layer).
 * true = asserted-HIGH (NO sensor); false = asserted-LOW (NC). Applied to the
 * raw pin on the next io_refresh(). */
void io_set_active_high(enum io_sensor_id s, bool active_high);
bool io_active_high(enum io_sensor_id s);

/* Static identity helpers (fixed by hardware). */
const char *io_sensor_name(enum io_sensor_id s);
const char *io_sensor_pin(enum io_sensor_id s);

/* Simulation (logic test): force an input's logical state from the console, so
 * the sequence can be walked before real sensors are wired. RAM-only; forced
 * inputs ignore their physical pin until io_sim_off() reverts to live reads. */
void io_sim_sensor(enum io_sensor_id s, bool on);
void io_sim_smema_up_board_available(bool on);
void io_sim_smema_down_machine_ready(bool on);
void io_sim_off(void);
bool io_sim_any(void);

/* SMEMA (reserved) */
bool io_smema_upstream_board_available(void);   /* input  */
bool io_smema_downstream_machine_ready(void);   /* input  */
void io_smema_set_upstream_machine_ready(bool on);          /* output */
void io_smema_set_downstream_board_available(bool on);      /* output */
void io_smema_set_downstream_board_available_fail(bool on); /* output: FAIL board to next machine (PA3) */

#endif /* INFEED_IO_H_ */
```
